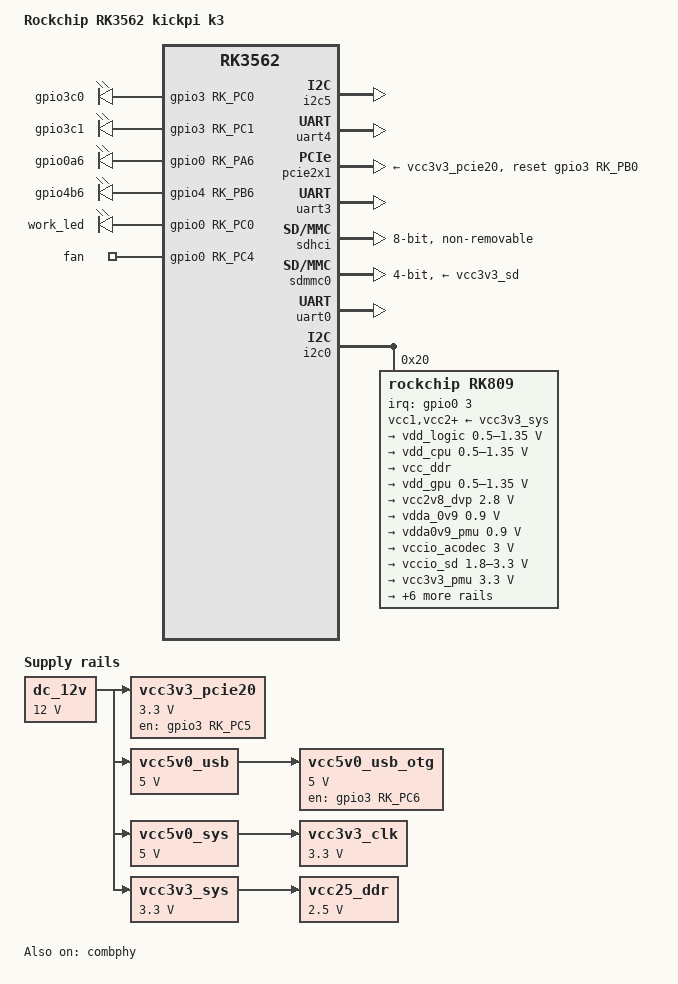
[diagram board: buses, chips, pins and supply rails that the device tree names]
// SPDX-License-Identifier: (GPL-2.0+ OR MIT)
/*
 * Copyright (c) 2026, Sohaib Mohamed <sohaib.amhmd@gmail.com>
 */

/dts-v1/;

#include <dt-bindings/gpio/gpio.h>
#include <dt-bindings/input/input.h>
#include <dt-bindings/leds/common.h>
#include <dt-bindings/pinctrl/rockchip.h>
#include <arm64/rockchip/rk3562.dtsi>

/ {
	model = "Rockchip RK3562 kickpi k3";
	compatible = "kickpi,rk3562-kickpi-k3", "rockchip,rk3562";

	aliases {
		mmc0  = &sdhci;
		mmc1  = &sdmmc0;
		serial0 = &uart0;
	};

	chosen {
		stdout-path = "serial0:1500000n8";
	};

	vcc3v3_pcie20: regulator-vcc3v3-pcie20 {
		compatible = "regulator-fixed";
		regulator-name = "vcc3v3_pcie20";
		regulator-min-microvolt = <3300000>;
		regulator-max-microvolt = <3300000>;
		enable-active-high;
		regulator-boot-on;
		regulator-always-on;
		gpios = <&gpio3 RK_PC5 GPIO_ACTIVE_HIGH>;
		startup-delay-us = <5000>;
		vin-supply = <&dc_12v>;
	};


	vcc5v0_usb: regulator-vcc5v0-usb {
		compatible = "regulator-fixed";
		regulator-name = "vcc5v0_usb";
		regulator-always-on;
		regulator-boot-on;
		regulator-min-microvolt = <5000000>;
		regulator-max-microvolt = <5000000>;
		vin-supply = <&dc_12v>;
	};

	vcc5v0_usb_otg: regulator-vcc5v0-usb-otg {
		compatible = "regulator-fixed";
		regulator-name = "vcc5v0_usb_otg";
		regulator-min-microvolt = <5000000>;
		regulator-max-microvolt = <5000000>;
		enable-active-high;
		gpio = <&gpio3 RK_PC6 GPIO_ACTIVE_HIGH>;
		vin-supply = <&vcc5v0_usb>;
		pinctrl-names = "default";
		pinctrl-0 = <&usb_otg_pwren>;
	};

	dc_12v: regulator-dc-12v {
		compatible = "regulator-fixed";
		regulator-name = "dc_12v";
		regulator-always-on;
		regulator-boot-on;
		regulator-min-microvolt = <12000000>;
		regulator-max-microvolt = <12000000>;
	};

	vcc5v0_sys: regulator-vcc5v0-sys {
		compatible = "regulator-fixed";
		regulator-name = "vcc5v0_sys";
		regulator-always-on;
		regulator-boot-on;
		regulator-min-microvolt = <5000000>;
		regulator-max-microvolt = <5000000>;
		vin-supply = <&dc_12v>;
	};

	vcc3v3_clk: regulator-vcc3v3-clk {
		compatible = "regulator-fixed";
		regulator-name = "vcc3v3_clk";
		regulator-min-microvolt = <3300000>;
		regulator-max-microvolt = <3300000>;
		vin-supply = <&vcc5v0_sys>;
	};

	vcc3v3_sys: regulator-vcc-sys {
		compatible = "regulator-fixed";
		regulator-name = "vcc3v3_sys";
		regulator-always-on;
		regulator-boot-on;
		regulator-min-microvolt = <3300000>;
		regulator-max-microvolt = <3300000>;
		vin-supply = <&dc_12v>;
	};

	vcc25_ddr: regulator-vcc25-ddr {
		compatible = "regulator-fixed";
		regulator-name = "vcc25_ddr";
		regulator-always-on;
		regulator-boot-on;
		regulator-min-microvolt = <2500000>;
		regulator-max-microvolt = <2500000>;
		vin-supply = <&vcc3v3_sys>;
	};

	leds: leds {
		compatible = "gpio-leds";
		gpio3c0 {
			gpios = <&gpio3 RK_PC0 GPIO_ACTIVE_HIGH>;
			default-state = "on";
		};
		gpio3c1 {
			gpios = <&gpio3 RK_PC1 GPIO_ACTIVE_HIGH>;
			default-state = "on";
		};
		gpio0a6 {
			gpios = <&gpio0 RK_PA6 GPIO_ACTIVE_HIGH>;
			default-state = "on";
		};
		gpio4b6 {
			gpios = <&gpio4 RK_PB6 GPIO_ACTIVE_HIGH>;
			default-state = "on";
		};

		work_led: work-led {
			gpios = <&gpio0 RK_PC0 GPIO_ACTIVE_HIGH>;
			linux,default-trigger = "heartbeat";
		};
		fan: fan {
			gpios = <&gpio0 RK_PC4 GPIO_ACTIVE_HIGH>;
			default-state = "on";
		};
	};
};

&i2c5 {
	pinctrl-names = "default";
	pinctrl-0 = <&i2c5m0_xfer>;
	status = "okay";
};

&uart4 {
	pinctrl-names = "default";
	pinctrl-0 = <&uart4m0_xfer>;
	status = "okay";
};

&combphy {
	status = "okay";
};

&pcie2x1 {
	reset-gpios = <&gpio3 RK_PB0 GPIO_ACTIVE_HIGH>;
	vpcie3v3-supply = <&vcc3v3_pcie20>;
	status = "okay";
};

&pinctrl {
	usb {
		usb_otg_pwren: usb-otg-pwren {
			rockchip,pins = <3 RK_PC6 RK_FUNC_GPIO &pcfg_pull_none>;
		};
	};
	headphone {
		hp_det: hp-det {
			rockchip,pins = <4 RK_PB1 RK_FUNC_GPIO &pcfg_pull_up>;
		};
	};
};

&uart3 {
	pinctrl-names = "default";
	pinctrl-0 = <&uart3m0_xfer>;
	status = "okay";
};

&sdhci {
	bus-width = <8>;
	no-sdio;
	no-sd;
	non-removable;
	mmc-hs400-1_8v;
	mmc-hs400-enhanced-strobe;
	full-pwr-cycle-in-suspend;
	status = "okay";
};

&sdmmc0 {
	no-sdio;
	no-mmc;
	bus-width = <4>;
	cap-mmc-highspeed;
	cap-sd-highspeed;
	disable-wp;
	sd-uhs-sdr104;
	vmmc-supply = <&vcc3v3_sd>;
	vqmmc-supply = <&vccio_sd>;
	pinctrl-names = "default";
	pinctrl-0 = <&sdmmc0_bus4 &sdmmc0_clk &sdmmc0_cmd &sdmmc0_det>;
	status = "okay";
};

&uart0 {
	pinctrl-names = "default";
	pinctrl-0 = <&uart0m0_xfer>;
	status = "okay";
};

&i2c0 {
	status = "okay";

	rk809: pmic@20 {
		compatible = "rockchip,rk809";
		reg = <0x20>;
		interrupt-parent = <&gpio0>;
		interrupts = <3 IRQ_TYPE_LEVEL_LOW>;

		pinctrl-names = "default";
		pinctrl-0 = <&pmic_int>;
		rockchip,system-power-controller;
		wakeup-source;
		#clock-cells = <1>;
		clock-output-names = "rk808-clkout1", "rk808-clkout2";
		pmic-reset-func = <0>;
		not-save-power-en = <1>;

		vcc1-supply = <&vcc3v3_sys>;
		vcc2-supply = <&vcc3v3_sys>;
		vcc3-supply = <&vcc3v3_sys>;
		vcc4-supply = <&vcc3v3_sys>;
		vcc5-supply = <&vcc3v3_sys>;
		vcc6-supply = <&vcc3v3_sys>;
		vcc7-supply = <&vcc3v3_sys>;
		vcc8-supply = <&vcc3v3_sys>;
		vcc9-supply = <&vcc3v3_sys>;

		pwrkey {
			status = "okay";
		};

		pinctrl_rk8xx: pinctrl_rk8xx {
			gpio-controller;
			#gpio-cells = <2>;

			rk817_slppin_null: rk817_slppin_null {
				pins = "gpio_slp";
				function = "pin_fun0";
			};

			rk817_slppin_slp: rk817_slppin_slp {
				pins = "gpio_slp";
				function = "pin_fun1";
			};

			rk817_slppin_pwrdn: rk817_slppin_pwrdn {
				pins = "gpio_slp";
				function = "pin_fun2";
			};

			rk817_slppin_rst: rk817_slppin_rst {
				pins = "gpio_slp";
				function = "pin_fun3";
			};
		};

		regulators {
			vdd_logic: DCDC_REG1 {
				regulator-always-on;
				regulator-boot-on;
				regulator-min-microvolt = <500000>;
				regulator-max-microvolt = <1350000>;
				regulator-init-microvolt = <900000>;
				regulator-ramp-delay = <6001>;
				regulator-initial-mode = <0x2>;
				regulator-name = "vdd_logic";
				regulator-state-mem {
					regulator-off-in-suspend;
				};
			};

			vdd_cpu: DCDC_REG2 {
				regulator-always-on;
				regulator-boot-on;
				regulator-min-microvolt = <500000>;
				regulator-max-microvolt = <1350000>;
				regulator-init-microvolt = <900000>;
				regulator-ramp-delay = <6001>;
				regulator-initial-mode = <0x2>;
				regulator-name = "vdd_cpu";
				regulator-state-mem {
					regulator-off-in-suspend;
				};
			};

			vcc_ddr: DCDC_REG3 {
				regulator-always-on;
				regulator-boot-on;
				regulator-initial-mode = <0x2>;
				regulator-name = "vcc_ddr";
				regulator-state-mem {
					regulator-on-in-suspend;
				};
			};

			vdd_gpu: DCDC_REG4 {
				regulator-always-on;
				regulator-boot-on;
				regulator-min-microvolt = <500000>;
				regulator-max-microvolt = <1350000>;
				regulator-init-microvolt = <900000>;
				regulator-ramp-delay = <6001>;
				regulator-initial-mode = <0x2>;
				regulator-name = "vdd_gpu";
				regulator-state-mem {
					regulator-off-in-suspend;
				};
			};

			vcc2v8_dvp: LDO_REG1 {
				regulator-min-microvolt = <2800000>;
				regulator-max-microvolt = <2800000>;
				regulator-name = "vcc2v8_dvp";
				regulator-state-mem {
					regulator-off-in-suspend;
				};
			};

			vdda_0v9: LDO_REG2 {
				regulator-always-on;
				regulator-boot-on;
				regulator-min-microvolt = <900000>;
				regulator-max-microvolt = <900000>;
				regulator-name = "vdda_0v9";
				regulator-state-mem {
					regulator-off-in-suspend;
				};
			};

			vdda0v9_pmu: LDO_REG3 {
				regulator-always-on;
				regulator-boot-on;
				regulator-min-microvolt = <900000>;
				regulator-max-microvolt = <900000>;
				regulator-name = "vdda0v9_pmu";
				regulator-state-mem {
				regulator-on-in-suspend;
					regulator-suspend-microvolt = <900000>;
				};
			};

			vccio_acodec: LDO_REG4 {
				regulator-always-on;
				regulator-boot-on;
				regulator-min-microvolt = <3000000>;
				regulator-max-microvolt = <3000000>;
				regulator-name = "vccio_acodec";
				regulator-state-mem {
					regulator-off-in-suspend;
				};
			};

			vccio_sd: LDO_REG5 {
				regulator-always-on;
				regulator-boot-on;
				regulator-min-microvolt = <1800000>;
				regulator-max-microvolt = <3300000>;
				regulator-name = "vccio_sd";
				regulator-state-mem {
					regulator-off-in-suspend;
				};
			};

			vcc3v3_pmu: LDO_REG6 {
				regulator-always-on;
				regulator-boot-on;
				regulator-min-microvolt = <3300000>;
				regulator-max-microvolt = <3300000>;
				regulator-name = "vcc3v3_pmu";
				regulator-state-mem {
					regulator-on-in-suspend;
					regulator-suspend-microvolt = <3300000>;
				};
			};

			vcca_1v8: LDO_REG7 {
				regulator-always-on;
				regulator-boot-on;
				regulator-min-microvolt = <1800000>;
				regulator-max-microvolt = <1800000>;
				regulator-name = "vcca_1v8";
				regulator-state-mem {
					regulator-off-in-suspend;
				};
			};

			vcca1v8_pmu: LDO_REG8 {
				regulator-always-on;
				regulator-boot-on;
				regulator-min-microvolt = <1800000>;
				regulator-max-microvolt = <1800000>;
				regulator-name = "vcca1v8_pmu";
				regulator-state-mem {
				regulator-on-in-suspend;
					regulator-suspend-microvolt = <1800000>;
				};
			};

			vcc1v8_dvp: LDO_REG9 {
				regulator-min-microvolt = <1800000>;
				regulator-max-microvolt = <1800000>;
				regulator-name = "vcc1v8_dvp";
				regulator-state-mem {
					regulator-off-in-suspend;
				};
			};

			vcc_1v8: DCDC_REG5 {
				regulator-always-on;
				regulator-boot-on;
				regulator-min-microvolt = <1800000>;
				regulator-max-microvolt = <1800000>;
				regulator-name = "vcc_1v8";
				regulator-state-mem {
					regulator-off-in-suspend;
				};
			};

			vcc_3v3: SWITCH_REG1 {
				regulator-always-on;
				regulator-boot-on;
				regulator-name = "vcc_3v3";
				regulator-state-mem {
					regulator-off-in-suspend;
				};
			};

			vcc3v3_sd: SWITCH_REG2 {
				regulator-always-on;
				regulator-boot-on;
				regulator-name = "vcc3v3_sd";
				regulator-state-mem {
					regulator-off-in-suspend;
				};
			};
		};
	};
};
